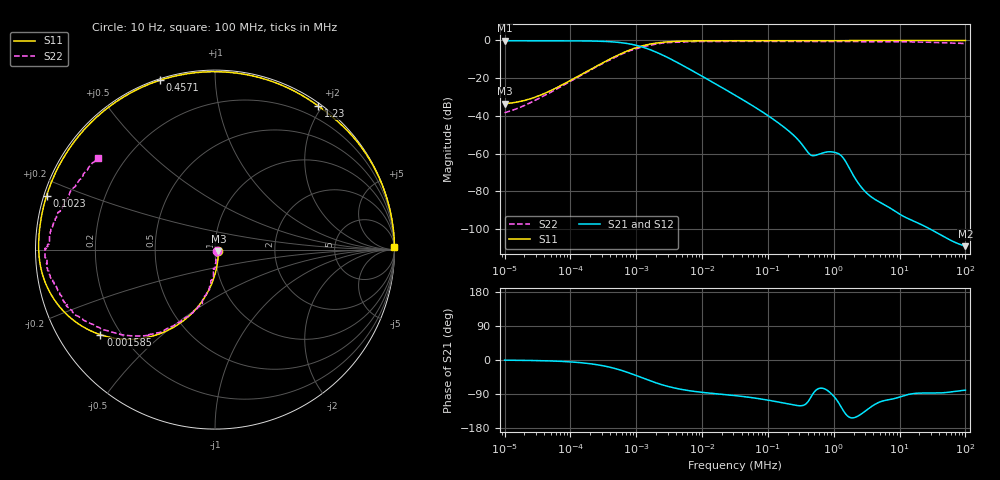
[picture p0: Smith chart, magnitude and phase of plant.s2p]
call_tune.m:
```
%matlab -batch "Untitled(2)
pha=2  %count
rll=0.5 %mOhms
vin=12 %V
vramp=1.5 %V
f0=100e3 %Hz
PHmarg=60 %deg
lout=100 %nH
rout=0.29 %mO
VID=1 %V
touchstoune_file='plant.s2p'
includePath=''
tune_vr(pha,rll,vin,vramp,f0,PHmarg,lout,rout,VID,touchstoune_file,includePath)
```
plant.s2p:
! NPort=2 DATA=701 NOISE=0 GROUPDELAY=0 COMPLEX_DATAFORMAT=RI
! NumOfBlock=1 NumOfParam=0
! .MODEL plant S TSTONEFILE=V:\EDA\users\dgarciam\oaks\vccd_hspice_ww52\deck_ww52\main_bode\shell_deck_AVP1p2_plant_touch.s2p TYPE=S
!  -- The above .MODEL line can be used for the S element in the netlist.
# Hz S RI R  0.100000000000000006
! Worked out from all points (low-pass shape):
!   701 points, 10 Hz to 100 MHz, reference 0.1 ohm
!   highest |S21| = -0.17 dB at 10 Hz (marker M1); lowest = -109.1 dB at 100 MHz (marker M2)
!   |S21| within 3 dB of the highest: start of sweep to 1.153 kHz
!   lowest |S11| = -33.6 dB at 10 Hz (marker M3), VSWR 1.04, Z = 0.104 - j0.0018 ohm
!   |S11| at or under -10 dB: start of sweep to 391.6 Hz
!   |S22| runs from -38.3 to -0.5 dB; largest |S21 - S12| = 7.6e-12
!   S11 on the Smith chart (normalised r, x): 10 Hz: 1.04, -0.02; 1.585 kHz: 0.13, -0.33; 102.3 kHz: 0.01, +0.16; 457.1 kHz: 0.01, +0.73; 1.23 MHz: 0.03, +1.95; 100 MHz: open
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10  0.0191 -0.00868  0.9808 -0.00852  0.9808 -0.00852  0.00879 -0.00833
37.1535  0.0181 -0.0322  0.9798 -0.0316  0.9798 -0.0316  0.00879 -0.0309
316.228  -0.051 -0.2552  0.9123 -0.2506  0.9123 -0.2506  -0.0481 -0.2451
1584.89  -0.638 -0.4744  0.3381 -0.4688  0.3381 -0.4688  -0.5774 -0.4586
4570.88  -0.927 -0.2251  0.0553 -0.234  0.0553 -0.234  -0.8758 -0.2289
31622.8  -0.9815 0.0615  -0.00243 -0.0353  -0.00243 -0.0353  -0.9469 -0.035
102329  -0.9385 0.3  -0.00276 -0.00949  -0.00276 -0.00949  -0.9469 -0.00962
457088  -0.3062 0.9436  -9.28e-05 -0.000892  -9.28e-05 -0.000892  -0.9398 0.00628
1230270  0.5762 0.7996  -0.000436 -0.000844  -0.000436 -0.000844  -0.9327 0.0164
3090300  0.9173 0.3942  -6.41e-05 -6.77e-05  -6.41e-05 -6.77e-05  -0.9256 0.0333
1e8  0.9999 0.0127  6.23e-07 -3.43e-06  6.23e-07 -3.43e-06  -0.652 0.5121
